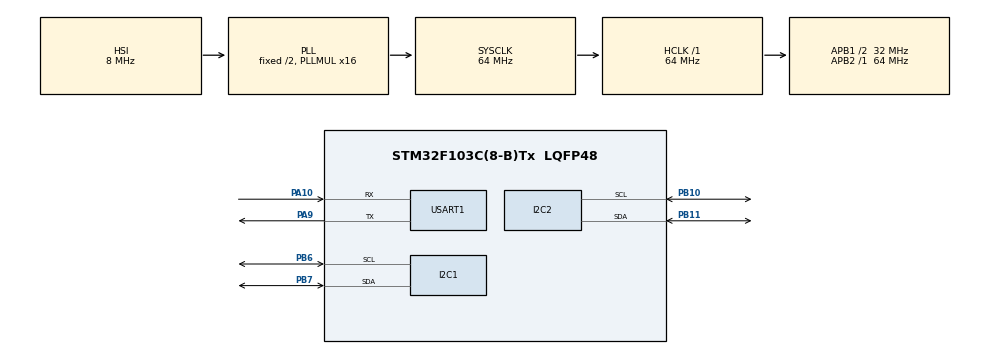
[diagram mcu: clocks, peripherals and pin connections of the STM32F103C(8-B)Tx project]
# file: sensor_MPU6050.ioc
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I2C2.I2C_Mode=I2C_Fast
Mcu.Family=STM32F1
Mcu.Name=STM32F103C(8-B)Tx
Mcu.Package=LQFP48
NVIC.I2C1_ER_IRQn=true\:0\:0\:false\:false\:true\:true\:true\:true
NVIC.I2C1_EV_IRQn=true\:0\:0\:false\:false\:true\:true\:true\:true
NVIC.I2C2_ER_IRQn=true\:0\:0\:false\:false\:true\:true\:true\:true
NVIC.I2C2_EV_IRQn=true\:0\:0\:false\:false\:true\:true\:true\:true
NVIC.PriorityGroup=NVIC_PRIORITYGROUP_4
NVIC.USART1_IRQn=true\:0\:0\:false\:false\:true\:true\:true\:true
PA10.Mode=Multiprocessor_communication
PA10.Signal=USART1_RX
PA13.Mode=Serial_Wire
PA13.Signal=SYS_JTMS-SWDIO
PA14.Mode=Serial_Wire
PA14.Signal=SYS_JTCK-SWCLK
PA9.Mode=Multiprocessor_communication
PA9.Signal=USART1_TX
PB10.Mode=I2C
PB10.Signal=I2C2_SCL
PB11.Mode=I2C
PB11.Signal=I2C2_SDA
PB6.Mode=I2C
PB6.Signal=I2C1_SCL
PB7.Mode=I2C
PB7.Signal=I2C1_SDA
ProjectManager.HeapSize=0x200
ProjectManager.StackSize=0x400
ProjectManager.TargetToolchain=STM32CubeIDE
RCC.AHBFreq_Value=64000000
RCC.APB1CLKDivider=RCC_HCLK_DIV2
RCC.APB1Freq_Value=32000000
RCC.APB1TimFreq_Value=64000000
RCC.APB2Freq_Value=64000000
RCC.APB2TimFreq_Value=64000000
RCC.HCLKFreq_Value=64000000
RCC.PLLMUL=RCC_PLL_MUL16
RCC.SYSCLKFreq_VALUE=64000000
RCC.SYSCLKSource=RCC_SYSCLKSOURCE_PLLCLK
RCC.USBFreq_Value=64000000
USART1.VirtualMode=VM_ASYNC
board=custom

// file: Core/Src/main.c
/* USER CODE BEGIN Header */
/**
  ******************************************************************************
  * @file           : main.c
  * @brief          : Main program body
  ******************************************************************************
  * @attention
  *
  * Copyright (c) 2025 STMicroelectronics.
  * All rights reserved.
  *
  * This software is licensed under terms that can be found in the LICENSE file
  * in the root directory of this software component.
  * If no LICENSE file comes with this software, it is provided AS-IS.
  *
  ******************************************************************************
  */
/* USER CODE END Header */
#include "main.h"

/* USER CODE BEGIN Includes */
#include "i2c_lcd.h"
#include "mpu6050.h"
#include "stdio.h"
/* USER CODE END Includes */

I2C_HandleTypeDef hi2c1;
I2C_HandleTypeDef hi2c2;

UART_HandleTypeDef huart1;

/* USER CODE BEGIN PV */
I2C_LCD_HandleTypeDef lcd;
MPU6050_t MPU6050;
char uart_buf[128];
char lcd_buf[128];
/* USER CODE END PV */

void SystemClock_Config(void);
static void MX_GPIO_Init(void);
static void MX_I2C1_Init(void);
static void MX_I2C2_Init(void);
static void MX_USART1_UART_Init(void);

int main(void)
{

  /* MCU Configuration--------------------------------------------------------*/

  /* Reset of all peripherals, Initializes the Flash interface and the Systick. */
  HAL_Init();

  /* Configure the system clock */
  SystemClock_Config();

  /* Initialize all configured peripherals */
  MX_GPIO_Init();
  MX_I2C1_Init();
  MX_I2C2_Init();
  MX_USART1_UART_Init();
  /* USER CODE BEGIN 2 */
  //LCD
  lcd.hi2c = &hi2c1;
  lcd.address = 0x4E;
  lcd_init(&lcd);
  lcd_clear(&lcd);
  //MPU
  MPU6050_Init(&hi2c2);
  /* USER CODE END 2 */

  /* Infinite loop */
  /* USER CODE BEGIN WHILE */
  while (1)
  {
	  MPU6050_Read_All(&hi2c2, &MPU6050);

	  // Ghi chuỗi định dạng để in ra UART
	          sprintf(uart_buf,
	                  "Ax: %.2f Ay: %.2f Az: %.2f | "
	                  "Gx: %.2f Gy: %.2f Gz: %.2f | "
	                  "Temp: %.2f | KalX: %.2f KalY: %.2f\r\n",
	                  MPU6050.Ax, MPU6050.Ay, MPU6050.Az,
	                  MPU6050.Gx, MPU6050.Gy, MPU6050.Gz,
	                  MPU6050.Temperature,
	                  MPU6050.KalmanAngleX, MPU6050.KalmanAngleY);

	          HAL_UART_Transmit(&huart1, (uint8_t *)uart_buf, strlen(uart_buf), 100);
	          HAL_Delay(500); // In mỗi 0.5s

	   // Ghi ra LCD
	          // Dòng 1: Ax Ay Az
				lcd_gotoxy(&lcd,0, 0); // vị trí cột 0, dòng 0
				sprintf(lcd_buf, "Ax: %.2f Ay: %.2f Az: %.2f | ", MPU6050.Ax, MPU6050.Ay, MPU6050.Az);
				lcd_puts(&lcd,lcd_buf);

				// Dòng 2: Gx Gy Gz
				lcd_gotoxy(&lcd,0, 1); // vị trí cột 0, dòng 0
				sprintf(lcd_buf,  "Gx: %.2f Gy: %.2f Gz: %.2f | ", MPU6050.Gx, MPU6050.Gy, MPU6050.Gz);
				lcd_puts(&lcd,lcd_buf);

    /* USER CODE END WHILE */

  }
}

void SystemClock_Config(void)
{
  RCC_OscInitTypeDef RCC_OscInitStruct = {0};
  RCC_ClkInitTypeDef RCC_ClkInitStruct = {0};

  /** Initializes the RCC Oscillators according to the specified parameters
  * in the RCC_OscInitTypeDef structure.
  */
  RCC_OscInitStruct.OscillatorType = RCC_OSCILLATORTYPE_HSI;
  RCC_OscInitStruct.HSIState = RCC_HSI_ON;
  RCC_OscInitStruct.HSICalibrationValue = RCC_HSICALIBRATION_DEFAULT;
  RCC_OscInitStruct.PLL.PLLState = RCC_PLL_ON;
  RCC_OscInitStruct.PLL.PLLSource = RCC_PLLSOURCE_HSI_DIV2;
  RCC_OscInitStruct.PLL.PLLMUL = RCC_PLL_MUL16;
  if (HAL_RCC_OscConfig(&RCC_OscInitStruct) != HAL_OK)
  {
    Error_Handler();
  }

  /** Initializes the CPU, AHB and APB buses clocks
  */
  RCC_ClkInitStruct.ClockType = RCC_CLOCKTYPE_HCLK|RCC_CLOCKTYPE_SYSCLK
                              |RCC_CLOCKTYPE_PCLK1|RCC_CLOCKTYPE_PCLK2;
  RCC_ClkInitStruct.SYSCLKSource = RCC_SYSCLKSOURCE_PLLCLK;
  RCC_ClkInitStruct.AHBCLKDivider = RCC_SYSCLK_DIV1;
  RCC_ClkInitStruct.APB1CLKDivider = RCC_HCLK_DIV2;
  RCC_ClkInitStruct.APB2CLKDivider = RCC_HCLK_DIV1;

  if (HAL_RCC_ClockConfig(&RCC_ClkInitStruct, FLASH_LATENCY_2) != HAL_OK)
  {
    Error_Handler();
  }
}

static void MX_I2C1_Init(void)
{

  hi2c1.Instance = I2C1;
  hi2c1.Init.ClockSpeed = 100000;
  hi2c1.Init.DutyCycle = I2C_DUTYCYCLE_2;
  hi2c1.Init.OwnAddress1 = 0;
  hi2c1.Init.AddressingMode = I2C_ADDRESSINGMODE_7BIT;
  hi2c1.Init.DualAddressMode = I2C_DUALADDRESS_DISABLE;
  hi2c1.Init.OwnAddress2 = 0;
  hi2c1.Init.GeneralCallMode = I2C_GENERALCALL_DISABLE;
  hi2c1.Init.NoStretchMode = I2C_NOSTRETCH_DISABLE;
  if (HAL_I2C_Init(&hi2c1) != HAL_OK)
  {
    Error_Handler();
  }

}

static void MX_I2C2_Init(void)
{

  hi2c2.Instance = I2C2;
  hi2c2.Init.ClockSpeed = 400000;
  hi2c2.Init.DutyCycle = I2C_DUTYCYCLE_2;
  hi2c2.Init.OwnAddress1 = 0;
  hi2c2.Init.AddressingMode = I2C_ADDRESSINGMODE_7BIT;
  hi2c2.Init.DualAddressMode = I2C_DUALADDRESS_DISABLE;
  hi2c2.Init.OwnAddress2 = 0;
  hi2c2.Init.GeneralCallMode = I2C_GENERALCALL_DISABLE;
  hi2c2.Init.NoStretchMode = I2C_NOSTRETCH_DISABLE;
  if (HAL_I2C_Init(&hi2c2) != HAL_OK)
  {
    Error_Handler();
  }

}

static void MX_USART1_UART_Init(void)
{

  huart1.Instance = USART1;
  huart1.Init.BaudRate = 115200;
  huart1.Init.WordLength = UART_WORDLENGTH_8B;
  huart1.Init.StopBits = UART_STOPBITS_1;
  huart1.Init.Parity = UART_PARITY_NONE;
  huart1.Init.Mode = UART_MODE_TX_RX;
  huart1.Init.HwFlowCtl = UART_HWCONTROL_NONE;
  huart1.Init.OverSampling = UART_OVERSAMPLING_16;
  if (HAL_MultiProcessor_Init(&huart1, 0, UART_WAKEUPMETHOD_IDLELINE) != HAL_OK)
  {
    Error_Handler();
  }

}

static void MX_GPIO_Init(void)
{

  /* GPIO Ports Clock Enable */
  __HAL_RCC_GPIOB_CLK_ENABLE();
  __HAL_RCC_GPIOA_CLK_ENABLE();

}

void Error_Handler(void)
{
  __disable_irq();
  while (1)
  {
  }
}
